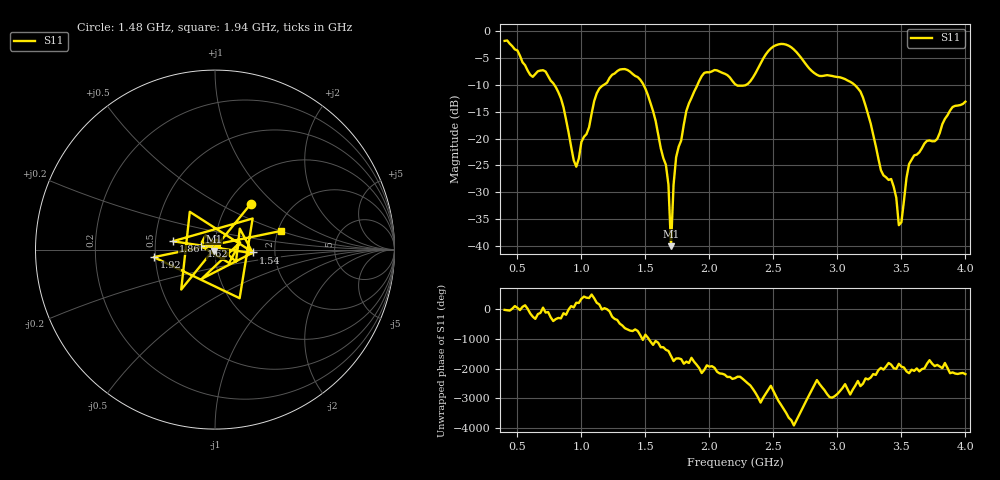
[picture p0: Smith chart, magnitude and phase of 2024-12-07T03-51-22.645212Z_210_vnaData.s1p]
!Created with skrf (http://scikit-rf.org).
# Hz S RI R 50.0
!freq ReS11 ImS11
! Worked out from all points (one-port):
!   181 points, 400 MHz to 4 GHz, reference 50 ohm
!   lowest |S11| = -40.1 dB at 1.7 GHz (marker M1), VSWR 1.02, Z = 49.3 - j0.72 ohm
!   |S11| at or under -10 dB: 788.4 MHz to 1.175 GHz (386.8 MHz wide, 39.4 % of centre); 1.485 GHz to 1.907 GHz (421.2 MHz wide, 24.8 % of centre); 3.135 GHz to end of sweep (the widest 3 of 4)
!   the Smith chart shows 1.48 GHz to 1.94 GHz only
!   S11 on the Smith chart (normalised r, x): 1.48 GHz: 1.27, +0.73; 1.54 GHz: 1.54, -0.05; 1.62 GHz: 0.85, +0.03; 1.86 GHz: 0.62, +0.06; 1.92 GHz: 0.49, -0.05; 1.94 GHz: 2.08, +0.51
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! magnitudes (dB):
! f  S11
! 400 MHz  -1.8
! 620 MHz  -8.5
! 720 MHz  -7.5
! 860 MHz  -14.2
! 960 MHz  -25.3
! 1.12 GHz  -11.6
! 1.3 GHz  -7.1
! 1.48 GHz  -9.7
! 1.54 GHz  -13.4
! 1.62 GHz  -21.8
! 1.68 GHz  -28.6
! 1.7 GHz  -40.1
! 1.72 GHz  -28.6
! 1.76 GHz  -21.5
! 1.86 GHz  -12.4
! 1.92 GHz  -9.3
! 1.94 GHz  -8.4
! 2.2 GHz  -9.9
! 2.5 GHz  -2.8
! 2.66 GHz  -3.4
! 3.1 GHz  -9.4
! 3.2 GHz  -12.4
! 3.34 GHz  -25.9
! 3.42 GHz  -27.6
! 3.48 GHz  -36.2
! 3.5 GHz  -35.6
! 3.56 GHz  -24.8
! 4 GHz  -13.1
